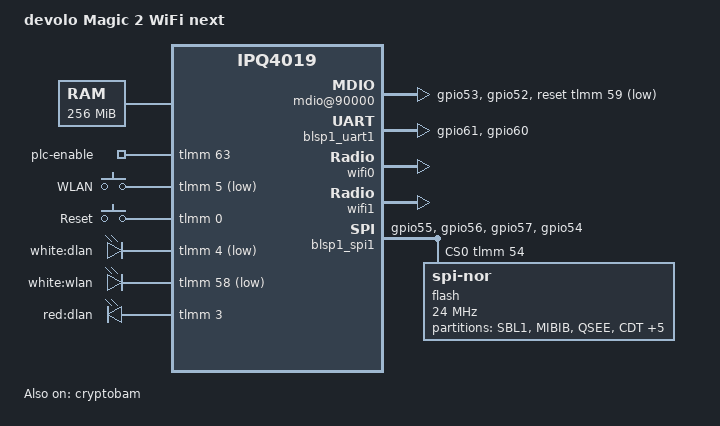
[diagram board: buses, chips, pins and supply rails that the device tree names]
// SPDX-License-Identifier: GPL-2.0-or-later OR MIT

#include "qcom-ipq4019.dtsi"
#include <dt-bindings/gpio/gpio.h>
#include <dt-bindings/input/input.h>

/ {
	model = "devolo Magic 2 WiFi next";
	compatible = "devolo,magic-2-wifi-next";

	memory {
		device_type = "memory";
		reg = <0x80000000 0x10000000>;
	};

	soc {
		rng@22000 {
			status = "okay";
		};

		mdio@90000 {
			status = "okay";
			pinctrl-0 = <&mdio_pins>;
			pinctrl-names = "default";
			reset-gpios = <&tlmm 59 GPIO_ACTIVE_LOW>;
			reset-delay-us = <2000>;

			/delete-node/ ethernet-phy@0;
			/delete-node/ ethernet-phy@1;
		};

		ess-psgmii@98000 {
			status = "okay";
		};

		crypto@8e3a000 {
			status = "okay";
		};

		watchdog@b017000 {
			status = "okay";
		};

		ess-switch@c000000 {
			status = "okay";
			switch_lan_bmp = <0x3e>;
			switch_wan_bmp = <0x0>;
		};

		edma@c080000 {
			status = "okay";
			qcom,num_gmac = <3>;

			gmac0 {
				qcom,phy_mdio_addr = <3>;
				qcom,poll_required = <1>;
				/delete-property/ qcom,forced_speed;
				/delete-property/ qcom,forced_duplex;
				vlan_tag = <1 0x10>;
			};

			gmac1 {
				qcom,phy_mdio_addr = <2>;
				qcom,poll_required = <1>;
				/delete-property/ qcom,forced_speed;
				/delete-property/ qcom,forced_duplex;
				vlan_tag = <1 0x08>;
			};

			gmac2 {
				local-mac-address = [00 00 00 00 00 00];
				qcom,phy_mdio_addr = <4>;
				qcom,poll_required = <1>;
				/delete-property/ qcom,forced_speed;
				/delete-property/ qcom,forced_duplex;
				vlan_tag = <1 0x20>;
			};
		};

		gpio_export {
			compatible = "gpio-export";
			#size-cells = <0>;

			plc {
				gpio-export,name = "plc-enable";
				gpio-export,output = <1>;
				gpios = <&tlmm 63 GPIO_ACTIVE_HIGH>;
			};
		};

	};

	keys {
		compatible = "gpio-keys";

		wlan {
			label = "WLAN";
			gpios = <&tlmm 5 GPIO_ACTIVE_LOW>;
			linux,code = <KEY_WPS_BUTTON>;
		};

		reset {
			label = "Reset";
			gpios = <&tlmm 0 GPIO_ACTIVE_HIGH>;
			linux,code = <KEY_RESTART>;
		};
	};

	leds {
		compatible = "gpio-leds";

		status_dlan {
			label = "white:dlan";
			gpios = <&tlmm 4 GPIO_ACTIVE_LOW>;
			default-state = "keep";
		};

		status_wlan {
			label = "white:wlan";
			gpios = <&tlmm 58 GPIO_ACTIVE_LOW>;
			default-state = "keep";
		};

		error_dlan {
			label = "red:dlan";
			gpios = <&tlmm 3 GPIO_ACTIVE_HIGH>;
			default-state = "keep";
		};
	};
};

&tlmm {
	spi_0_pins: spi_0_pinmux {
		mux {
			function = "blsp_spi0";
			pins = "gpio55", "gpio56", "gpio57";
			drive-strength = <12>;
			bias-disable;
		};

		mux_cs {
			function = "gpio";
			pins = "gpio54";
			drive-strength = <2>;
			bias-disable;
			output-high;
		};
	};

	mdio_pins: mdio_pinmux {
		mux_1 {
			pins = "gpio53";
			function = "mdio";
			bias-pull-up;
		};
		mux_2 {
			pins = "gpio52";
			function = "mdc";
			bias-pull-up;
		};
	};

	serial_pins: serial_pinmux {
		mux {
			pins = "gpio61", "gpio60";
			function = "blsp_uart0";
			bias-disable;
		};
	};

	button_pins: button_pinmux {
		mux {
			function = "gpio";
			pins = "gpio0", "gpio5";
			bias-disable;
			input;
		};
	};
};

&cryptobam {
	status = "okay";
};

&blsp_dma {
	status = "okay";
};

&blsp1_uart1 {
	pinctrl-0 = <&serial_pins>;
	pinctrl-names = "default";
	status = "okay";
};

&wifi0 {
	status = "okay";
	qcom,ath10k-calibration-variant = "devolo,magic-2-wifi-next";
};

&wifi1 {
	status = "okay";
	qcom,ath10k-calibration-variant = "devolo,magic-2-wifi-next";
};

&blsp1_spi1 {
	pinctrl-0 = <&spi_0_pins>;
	pinctrl-names = "default";
	status = "okay";
	cs-gpios = <&tlmm 54 GPIO_ACTIVE_HIGH>;

	flash@0 {
		compatible = "jedec,spi-nor";
		reg = <0>;
		linux,modalias = "n25q128a11";
		spi-max-frequency = <24000000>;

		partitions {
			compatible = "fixed-partitions";
			#address-cells = <1>;
			#size-cells = <1>;

			partition@0 {
				label = "SBL1";
				reg = <0x00000000 0x00040000>;
				read-only;
			};
			partition@40000 {
				label = "MIBIB";
				reg = <0x00040000 0x00020000>;
				read-only;
			};
			partition@60000 {
				label = "QSEE";
				reg = <0x00060000 0x00060000>;
				read-only;
			};
			partition@c0000 {
				label = "CDT";
				reg = <0x000c0000 0x00010000>;
				read-only;
			};
			partition@d0000 {
				label = "DDRPARAMS";
				reg = <0x000d0000 0x00010000>;
				read-only;
			};
			partition@e0000 {
				label = "APPSBLENV"; /* uboot env*/
				reg = <0x000e0000 0x00010000>;
			};
			partition@f0000 {
				label = "APPSBL"; /* uboot */
				reg = <0x000f0000 0x00080000>;
				read-only;
			};
			partition@170000 {
				label = "ART";
				reg = <0x00170000 0x00010000>;
				read-only;
			};
			firmware@180000 {
				compatible = "denx,fit";
				label = "firmware";
				reg = <0x00180000 0x01a80000>;
			};
		};
	};
};
